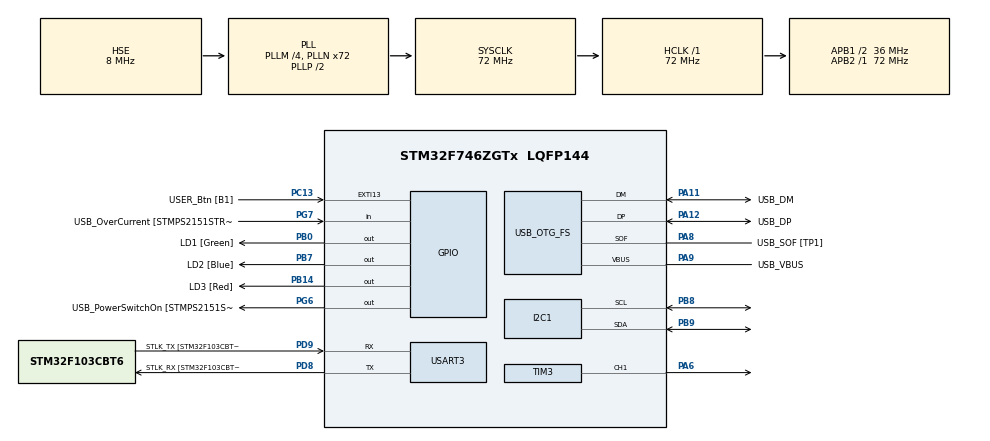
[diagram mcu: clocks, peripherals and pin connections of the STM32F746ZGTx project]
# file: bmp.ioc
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I2C1.Timing=0x00808CD2
Mcu.Family=STM32F7
Mcu.Name=STM32F746ZGTx
Mcu.Package=LQFP144
NVIC.PriorityGroup=NVIC_PRIORITYGROUP_4
NVIC.TIM2_IRQn=true\:0\:0\:false\:false\:true\:true\:true\:true
PA1.GPIO_Label=RMII_REF_CLK [LAN8742A-CZ-TR_REFCLK0]
PA1.Signal=ETH_REF_CLK
PA10.GPIO_Label=USB_ID
PA10.Signal=USB_OTG_FS_ID
PA11.GPIO_Label=USB_DM
PA11.Mode=Device_Only
PA11.Signal=USB_OTG_FS_DM
PA12.GPIO_Label=USB_DP
PA12.Mode=Device_Only
PA12.Signal=USB_OTG_FS_DP
PA13.GPIO_Label=TMS
PA13.Mode=Serial_Wire
PA13.Signal=SYS_JTMS-SWDIO
PA14.GPIO_Label=TCK
PA14.Mode=Serial_Wire
PA14.Signal=SYS_JTCK-SWCLK
PA2.GPIO_Label=RMII_MDIO [LAN8742A-CZ-TR_MDIO]
PA2.Signal=ETH_MDIO
PA6.Signal=S_TIM3_CH1
PA7.GPIO_Label=RMII_CRS_DV [LAN8742A-CZ-TR_CRS_DV]
PA7.Signal=ETH_CRS_DV
PA8.GPIO_Label=USB_SOF [TP1]
PA8.Mode=Activate_SOF_FS
PA8.Signal=USB_OTG_FS_SOF
PA9.GPIO_Label=USB_VBUS
PA9.Mode=Activate_VBUS
PA9.Signal=USB_OTG_FS_VBUS
PB0.GPIO_Label=LD1 [Green]
PB0.Signal=GPIO_Output
PB13.GPIO_Label=RMII_TXD1 [LAN8742A-CZ-TR_TXD1]
PB13.Signal=ETH_TXD1
PB14.GPIO_Label=LD3 [Red]
PB14.Signal=GPIO_Output
PB3.GPIO_Label=SW0
PB3.Signal=SYS_JTDO-SWO
PB7.GPIO_Label=LD2 [Blue]
PB7.Signal=GPIO_Output
PB8.Mode=I2C
PB8.Signal=I2C1_SCL
PB9.Mode=I2C
PB9.Signal=I2C1_SDA
PC1.GPIO_Label=RMII_MDC [LAN8742A-CZ-TR_MDC]
PC1.Signal=ETH_MDC
PC13.GPIO_Label=USER_Btn [B1]
PC13.Signal=GPXTI13
PC14/OSC32_IN.Mode=LSE-External-Oscillator
PC14/OSC32_IN.Signal=RCC_OSC32_IN
PC15/OSC32_OUT.Mode=LSE-External-Oscillator
PC15/OSC32_OUT.Signal=RCC_OSC32_OUT
PC4.GPIO_Label=RMII_RXD0 [LAN8742A-CZ-TR_RXD0]
PC4.Signal=ETH_RXD0
PC5.GPIO_Label=RMII_RXD1 [LAN8742A-CZ-TR_RXD1]
PC5.Signal=ETH_RXD1
PD8.GPIO_Label=STLK_RX [STM32F103CBT6_PA3]
PD8.Mode=Asynchronous
PD8.Signal=USART3_TX
PD9.GPIO_Label=STLK_TX [STM32F103CBT6_PA2]
PD9.Mode=Asynchronous
PD9.Signal=USART3_RX
PG11.GPIO_Label=RMII_TX_EN [LAN8742A-CZ-TR_TXEN]
PG11.Signal=ETH_TX_EN
PG13.GPIO_Label=RMII_TXD0 [LAN8742A-CZ-TR_TXD0]
PG13.Signal=ETH_TXD0
PG6.GPIO_Label=USB_PowerSwitchOn [STMPS2151STR_EN]
PG6.Signal=GPIO_Output
PG7.GPIO_Label=USB_OverCurrent [STMPS2151STR_FAULT]
PG7.Signal=GPIO_Input
PH0/OSC_IN.GPIO_Label=MCO [STM32F103CBT6_PA8]
PH0/OSC_IN.Mode=HSE-External-Clock-Source
PH0/OSC_IN.Signal=RCC_OSC_IN
PH1/OSC_OUT.Mode=HSE-External-Clock-Source
PH1/OSC_OUT.Signal=RCC_OSC_OUT
ProjectManager.HeapSize=0x200
ProjectManager.StackSize=0x400
ProjectManager.TargetToolchain=STM32CubeIDE
RCC.48MHZClocksFreq_Value=24000000
RCC.AHBFreq_Value=72000000
RCC.APB1CLKDivider=RCC_HCLK_DIV2
RCC.APB1Freq_Value=36000000
RCC.APB1TimFreq_Value=72000000
RCC.APB2Freq_Value=72000000
RCC.APB2TimFreq_Value=72000000
RCC.CortexFreq_Value=72000000
RCC.HCLKFreq_Value=72000000
RCC.HSE_VALUE=8000000
RCC.HSI_VALUE=16000000
RCC.PLLM=4
RCC.PLLMUL=RCC_PLL_MUL9
RCC.PLLN=72
RCC.PLLQ=3
RCC.PRESCALERUSB=RCC_USBCLKSOURCE_PLL_DIV1_5
RCC.SYSCLKFreq_VALUE=72000000
RCC.SYSCLKSource=RCC_SYSCLKSOURCE_PLLCLK
RCC.SYSCLKSourceVirtual=RCC_SYSCLKSOURCE_PLLCLK
RCC.USBFreq_Value=48000000
RCC.VCOOutputFreq_Value=144000000
SH.S_TIM3_CH1.0=TIM3_CH1,PWM Generation1 CH1
TIM2.Period=999
TIM2.Prescaler=71
TIM3.Channel-PWM\ Generation1\ CH1=TIM_CHANNEL_1
TIM3.Period=999
TIM3.Prescaler=71
TIM3.Pulse-PWM\ Generation1\ CH1=500
USART3.VirtualMode-Asynchronous=VM_ASYNC
USB_OTG_FS.VirtualMode=Device_Only
VP_TIM2_VS_ClockSourceINT.Mode=Internal
board=NUCLEO-F746ZG

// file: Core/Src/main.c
/* USER CODE BEGIN Header */
/**
  ******************************************************************************
  * @file           : main.c
  * @brief          : Main program body
  ******************************************************************************
  * @attention
  *
  * Copyright (c) 2023 STMicroelectronics.
  * All rights reserved.
  *
  * This software is licensed under terms that can be found in the LICENSE file
  * in the root directory of this software component.
  * If no LICENSE file comes with this software, it is provided AS-IS.
  *
  ******************************************************************************
  */
/* USER CODE END Header */
#include "main.h"

/* USER CODE BEGIN Includes */
#include "BMPXX80.h"
#include <stdio.h>
#include <string.h>
#include <math.h>
/* USER CODE END Includes */

I2C_HandleTypeDef hi2c1;

TIM_HandleTypeDef htim2;
TIM_HandleTypeDef htim3;

UART_HandleTypeDef huart3;

PCD_HandleTypeDef hpcd_USB_OTG_FS;

/* USER CODE BEGIN PV */
//float temp;
//char text;

float temperature;
const float Tp = 0.25;
int32_t pressure;
uint16_t pwm_duty;
/* USER CODE END PV */

void SystemClock_Config(void);
static void MX_GPIO_Init(void);
static void MX_USART3_UART_Init(void);
static void MX_USB_OTG_FS_PCD_Init(void);
static void MX_I2C1_Init(void);
static void MX_TIM3_Init(void);
static void MX_TIM2_Init(void);

/* USER CODE BEGIN 0 */
float temperature_reference = 28.00;

float e_n = 0;
float e_n_1 = 0;
float u_n = 0;

float Proporcional = 0;
float Integral = 0;
float Derivative = 0;
float K_p = 3.0;
float K_i = 0.01;
float K_d = 0.0;

/* USER CODE END 0 */

int main(void)
{

  /* MCU Configuration--------------------------------------------------------*/

  /* Reset of all peripherals, Initializes the Flash interface and the Systick. */
  HAL_Init();

  /* Configure the system clock */
  SystemClock_Config();

  /* Initialize all configured peripherals */
  MX_GPIO_Init();
  MX_USART3_UART_Init();
  MX_USB_OTG_FS_PCD_Init();
  MX_I2C1_Init();
  MX_TIM3_Init();
  MX_TIM2_Init();
  /* USER CODE BEGIN 2 */
  //uint8_t text[] = "siema";

  BMP280_Init(&hi2c1, BMP280_TEMPERATURE_16BIT, BMP280_STANDARD, BMP280_FORCEDMODE);
  HAL_TIM_PWM_Start(&htim3, TIM_CHANNEL_1);
  HAL_TIM_Base_Start_IT(&htim2);

  /* USER CODE END 2 */

  /* Infinite loop */
  /* USER CODE BEGIN WHILE */
  while (1)
  {
	  //HAL_UART_Transmit(&huart3, text, sizeof(text)-1, 1000);
	  //HAL_Delay(1000);

    /* USER CODE END WHILE */

    /* USER CODE BEGIN 3 */
//	  BMP280_ReadTemperatureAndPressure(&temperature, &pressure);
//	  sprintf((char*)text, "%.2f, ", temperature);
//	  HAL_UART_Transmit(&huart3, (uint8_t*)text, strlen(text), 1000);
//	  HAL_Delay(1000);
  }
  /* USER CODE END 3 */
}

void SystemClock_Config(void)
{
  RCC_OscInitTypeDef RCC_OscInitStruct = {0};
  RCC_ClkInitTypeDef RCC_ClkInitStruct = {0};

  /** Configure LSE Drive Capability
  */
  HAL_PWR_EnableBkUpAccess();

  /** Configure the main internal regulator output voltage
  */
  __HAL_RCC_PWR_CLK_ENABLE();
  __HAL_PWR_VOLTAGESCALING_CONFIG(PWR_REGULATOR_VOLTAGE_SCALE3);

  /** Initializes the RCC Oscillators according to the specified parameters
  * in the RCC_OscInitTypeDef structure.
  */
  RCC_OscInitStruct.OscillatorType = RCC_OSCILLATORTYPE_HSE;
  RCC_OscInitStruct.HSEState = RCC_HSE_BYPASS;
  RCC_OscInitStruct.PLL.PLLState = RCC_PLL_ON;
  RCC_OscInitStruct.PLL.PLLSource = RCC_PLLSOURCE_HSE;
  RCC_OscInitStruct.PLL.PLLM = 4;
  RCC_OscInitStruct.PLL.PLLN = 72;
  RCC_OscInitStruct.PLL.PLLP = RCC_PLLP_DIV2;
  RCC_OscInitStruct.PLL.PLLQ = 3;
  if (HAL_RCC_OscConfig(&RCC_OscInitStruct) != HAL_OK)
  {
    Error_Handler();
  }

  /** Initializes the CPU, AHB and APB buses clocks
  */
  RCC_ClkInitStruct.ClockType = RCC_CLOCKTYPE_HCLK|RCC_CLOCKTYPE_SYSCLK
                              |RCC_CLOCKTYPE_PCLK1|RCC_CLOCKTYPE_PCLK2;
  RCC_ClkInitStruct.SYSCLKSource = RCC_SYSCLKSOURCE_PLLCLK;
  RCC_ClkInitStruct.AHBCLKDivider = RCC_SYSCLK_DIV1;
  RCC_ClkInitStruct.APB1CLKDivider = RCC_HCLK_DIV2;
  RCC_ClkInitStruct.APB2CLKDivider = RCC_HCLK_DIV1;

  if (HAL_RCC_ClockConfig(&RCC_ClkInitStruct, FLASH_LATENCY_2) != HAL_OK)
  {
    Error_Handler();
  }
}

static void MX_I2C1_Init(void)
{

  hi2c1.Instance = I2C1;
  hi2c1.Init.Timing = 0x00808CD2;
  hi2c1.Init.OwnAddress1 = 0;
  hi2c1.Init.AddressingMode = I2C_ADDRESSINGMODE_7BIT;
  hi2c1.Init.DualAddressMode = I2C_DUALADDRESS_DISABLE;
  hi2c1.Init.OwnAddress2 = 0;
  hi2c1.Init.OwnAddress2Masks = I2C_OA2_NOMASK;
  hi2c1.Init.GeneralCallMode = I2C_GENERALCALL_DISABLE;
  hi2c1.Init.NoStretchMode = I2C_NOSTRETCH_DISABLE;
  if (HAL_I2C_Init(&hi2c1) != HAL_OK)
  {
    Error_Handler();
  }

  /** Configure Analogue filter
  */
  if (HAL_I2CEx_ConfigAnalogFilter(&hi2c1, I2C_ANALOGFILTER_ENABLE) != HAL_OK)
  {
    Error_Handler();
  }

  /** Configure Digital filter
  */
  if (HAL_I2CEx_ConfigDigitalFilter(&hi2c1, 0) != HAL_OK)
  {
    Error_Handler();
  }

}

static void MX_TIM2_Init(void)
{

  TIM_ClockConfigTypeDef sClockSourceConfig = {0};
  TIM_MasterConfigTypeDef sMasterConfig = {0};

  htim2.Instance = TIM2;
  htim2.Init.Prescaler = 71;
  htim2.Init.CounterMode = TIM_COUNTERMODE_UP;
  htim2.Init.Period = 999;
  htim2.Init.ClockDivision = TIM_CLOCKDIVISION_DIV1;
  htim2.Init.AutoReloadPreload = TIM_AUTORELOAD_PRELOAD_DISABLE;
  if (HAL_TIM_Base_Init(&htim2) != HAL_OK)
  {
    Error_Handler();
  }
  sClockSourceConfig.ClockSource = TIM_CLOCKSOURCE_INTERNAL;
  if (HAL_TIM_ConfigClockSource(&htim2, &sClockSourceConfig) != HAL_OK)
  {
    Error_Handler();
  }
  sMasterConfig.MasterOutputTrigger = TIM_TRGO_RESET;
  sMasterConfig.MasterSlaveMode = TIM_MASTERSLAVEMODE_DISABLE;
  if (HAL_TIMEx_MasterConfigSynchronization(&htim2, &sMasterConfig) != HAL_OK)
  {
    Error_Handler();
  }

}

static void MX_TIM3_Init(void)
{

  TIM_MasterConfigTypeDef sMasterConfig = {0};
  TIM_OC_InitTypeDef sConfigOC = {0};

  htim3.Instance = TIM3;
  htim3.Init.Prescaler = 71;
  htim3.Init.CounterMode = TIM_COUNTERMODE_UP;
  htim3.Init.Period = 999;
  htim3.Init.ClockDivision = TIM_CLOCKDIVISION_DIV1;
  htim3.Init.AutoReloadPreload = TIM_AUTORELOAD_PRELOAD_DISABLE;
  if (HAL_TIM_PWM_Init(&htim3) != HAL_OK)
  {
    Error_Handler();
  }
  sMasterConfig.MasterOutputTrigger = TIM_TRGO_RESET;
  sMasterConfig.MasterSlaveMode = TIM_MASTERSLAVEMODE_DISABLE;
  if (HAL_TIMEx_MasterConfigSynchronization(&htim3, &sMasterConfig) != HAL_OK)
  {
    Error_Handler();
  }
  sConfigOC.OCMode = TIM_OCMODE_PWM1;
  sConfigOC.Pulse = 500;
  sConfigOC.OCPolarity = TIM_OCPOLARITY_HIGH;
  sConfigOC.OCFastMode = TIM_OCFAST_DISABLE;
  if (HAL_TIM_PWM_ConfigChannel(&htim3, &sConfigOC, TIM_CHANNEL_1) != HAL_OK)
  {
    Error_Handler();
  }
  HAL_TIM_MspPostInit(&htim3);

}

static void MX_USART3_UART_Init(void)
{

  huart3.Instance = USART3;
  huart3.Init.BaudRate = 115200;
  huart3.Init.WordLength = UART_WORDLENGTH_8B;
  huart3.Init.StopBits = UART_STOPBITS_1;
  huart3.Init.Parity = UART_PARITY_NONE;
  huart3.Init.Mode = UART_MODE_TX_RX;
  huart3.Init.HwFlowCtl = UART_HWCONTROL_NONE;
  huart3.Init.OverSampling = UART_OVERSAMPLING_16;
  huart3.Init.OneBitSampling = UART_ONE_BIT_SAMPLE_DISABLE;
  huart3.AdvancedInit.AdvFeatureInit = UART_ADVFEATURE_NO_INIT;
  if (HAL_UART_Init(&huart3) != HAL_OK)
  {
    Error_Handler();
  }

}

static void MX_USB_OTG_FS_PCD_Init(void)
{

  hpcd_USB_OTG_FS.Instance = USB_OTG_FS;
  hpcd_USB_OTG_FS.Init.dev_endpoints = 6;
  hpcd_USB_OTG_FS.Init.speed = PCD_SPEED_FULL;
  hpcd_USB_OTG_FS.Init.dma_enable = DISABLE;
  hpcd_USB_OTG_FS.Init.phy_itface = PCD_PHY_EMBEDDED;
  hpcd_USB_OTG_FS.Init.Sof_enable = ENABLE;
  hpcd_USB_OTG_FS.Init.low_power_enable = DISABLE;
  hpcd_USB_OTG_FS.Init.lpm_enable = DISABLE;
  hpcd_USB_OTG_FS.Init.vbus_sensing_enable = ENABLE;
  hpcd_USB_OTG_FS.Init.use_dedicated_ep1 = DISABLE;
  if (HAL_PCD_Init(&hpcd_USB_OTG_FS) != HAL_OK)
  {
    Error_Handler();
  }

}

static void MX_GPIO_Init(void)
{
  GPIO_InitTypeDef GPIO_InitStruct = {0};

  /* GPIO Ports Clock Enable */
  __HAL_RCC_GPIOC_CLK_ENABLE();
  __HAL_RCC_GPIOH_CLK_ENABLE();
  __HAL_RCC_GPIOA_CLK_ENABLE();
  __HAL_RCC_GPIOB_CLK_ENABLE();
  __HAL_RCC_GPIOD_CLK_ENABLE();
  __HAL_RCC_GPIOG_CLK_ENABLE();

  /*Configure GPIO pin Output Level */
  HAL_GPIO_WritePin(GPIOB, LD1_Pin|LD3_Pin|LD2_Pin, GPIO_PIN_RESET);

  /*Configure GPIO pin Output Level */
  HAL_GPIO_WritePin(USB_PowerSwitchOn_GPIO_Port, USB_PowerSwitchOn_Pin, GPIO_PIN_RESET);

  /*Configure GPIO pin : USER_Btn_Pin */
  GPIO_InitStruct.Pin = USER_Btn_Pin;
  GPIO_InitStruct.Mode = GPIO_MODE_IT_RISING;
  GPIO_InitStruct.Pull = GPIO_NOPULL;
  HAL_GPIO_Init(USER_Btn_GPIO_Port, &GPIO_InitStruct);

  /*Configure GPIO pins : RMII_MDC_Pin RMII_RXD0_Pin RMII_RXD1_Pin */
  GPIO_InitStruct.Pin = RMII_MDC_Pin|RMII_RXD0_Pin|RMII_RXD1_Pin;
  GPIO_InitStruct.Mode = GPIO_MODE_AF_PP;
  GPIO_InitStruct.Pull = GPIO_NOPULL;
  GPIO_InitStruct.Speed = GPIO_SPEED_FREQ_VERY_HIGH;
  GPIO_InitStruct.Alternate = GPIO_AF11_ETH;
  HAL_GPIO_Init(GPIOC, &GPIO_InitStruct);

  /*Configure GPIO pins : RMII_REF_CLK_Pin RMII_MDIO_Pin RMII_CRS_DV_Pin */
  GPIO_InitStruct.Pin = RMII_REF_CLK_Pin|RMII_MDIO_Pin|RMII_CRS_DV_Pin;
  GPIO_InitStruct.Mode = GPIO_MODE_AF_PP;
  GPIO_InitStruct.Pull = GPIO_NOPULL;
  GPIO_InitStruct.Speed = GPIO_SPEED_FREQ_VERY_HIGH;
  GPIO_InitStruct.Alternate = GPIO_AF11_ETH;
  HAL_GPIO_Init(GPIOA, &GPIO_InitStruct);

  /*Configure GPIO pins : LD1_Pin LD3_Pin LD2_Pin */
  GPIO_InitStruct.Pin = LD1_Pin|LD3_Pin|LD2_Pin;
  GPIO_InitStruct.Mode = GPIO_MODE_OUTPUT_PP;
  GPIO_InitStruct.Pull = GPIO_NOPULL;
  GPIO_InitStruct.Speed = GPIO_SPEED_FREQ_LOW;
  HAL_GPIO_Init(GPIOB, &GPIO_InitStruct);

  /*Configure GPIO pin : RMII_TXD1_Pin */
  GPIO_InitStruct.Pin = RMII_TXD1_Pin;
  GPIO_InitStruct.Mode = GPIO_MODE_AF_PP;
  GPIO_InitStruct.Pull = GPIO_NOPULL;
  GPIO_InitStruct.Speed = GPIO_SPEED_FREQ_VERY_HIGH;
  GPIO_InitStruct.Alternate = GPIO_AF11_ETH;
  HAL_GPIO_Init(RMII_TXD1_GPIO_Port, &GPIO_InitStruct);

  /*Configure GPIO pin : USB_PowerSwitchOn_Pin */
  GPIO_InitStruct.Pin = USB_PowerSwitchOn_Pin;
  GPIO_InitStruct.Mode = GPIO_MODE_OUTPUT_PP;
  GPIO_InitStruct.Pull = GPIO_NOPULL;
  GPIO_InitStruct.Speed = GPIO_SPEED_FREQ_LOW;
  HAL_GPIO_Init(USB_PowerSwitchOn_GPIO_Port, &GPIO_InitStruct);

  /*Configure GPIO pin : USB_OverCurrent_Pin */
  GPIO_InitStruct.Pin = USB_OverCurrent_Pin;
  GPIO_InitStruct.Mode = GPIO_MODE_INPUT;
  GPIO_InitStruct.Pull = GPIO_NOPULL;
  HAL_GPIO_Init(USB_OverCurrent_GPIO_Port, &GPIO_InitStruct);

  /*Configure GPIO pins : RMII_TX_EN_Pin RMII_TXD0_Pin */
  GPIO_InitStruct.Pin = RMII_TX_EN_Pin|RMII_TXD0_Pin;
  GPIO_InitStruct.Mode = GPIO_MODE_AF_PP;
  GPIO_InitStruct.Pull = GPIO_NOPULL;
  GPIO_InitStruct.Speed = GPIO_SPEED_FREQ_VERY_HIGH;
  GPIO_InitStruct.Alternate = GPIO_AF11_ETH;
  HAL_GPIO_Init(GPIOG, &GPIO_InitStruct);

}

/* USER CODE BEGIN 4 */
void HAL_TIM_PeriodElapsedCallback(TIM_HandleTypeDef* htim){
	  BMP280_ReadTemperatureAndPressure(&temperature, &pressure);
	  e_n = temperature_reference - temperature;

	  float pwm_duty_f = u_n*1000;

	  Proporcional = K_p * e_n;
	  if(pwm_duty_f > 0.0 && pwm_duty_f < 1000.0){
		  Integral += K_i * 0.5 * Tp * (e_n + e_n_1);
	  }
	  Derivative = K_d * (e_n - e_n_1) / Tp;
	  u_n = Proporcional + Integral + Derivative;

	  if(pwm_duty_f < 0.0) pwm_duty = 0;
	  else if(pwm_duty_f > 1000.0) pwm_duty = 1000;
	  else pwm_duty = (uint16_t) pwm_duty_f;

	  __HAL_TIM_SET_COMPARE(&htim3, TIM_CHANNEL_1, pwm_duty);
	  e_n_1 = e_n;
}
/* USER CODE END 4 */

void Error_Handler(void)
{
  __disable_irq();
  while (1)
  {
  }
}
